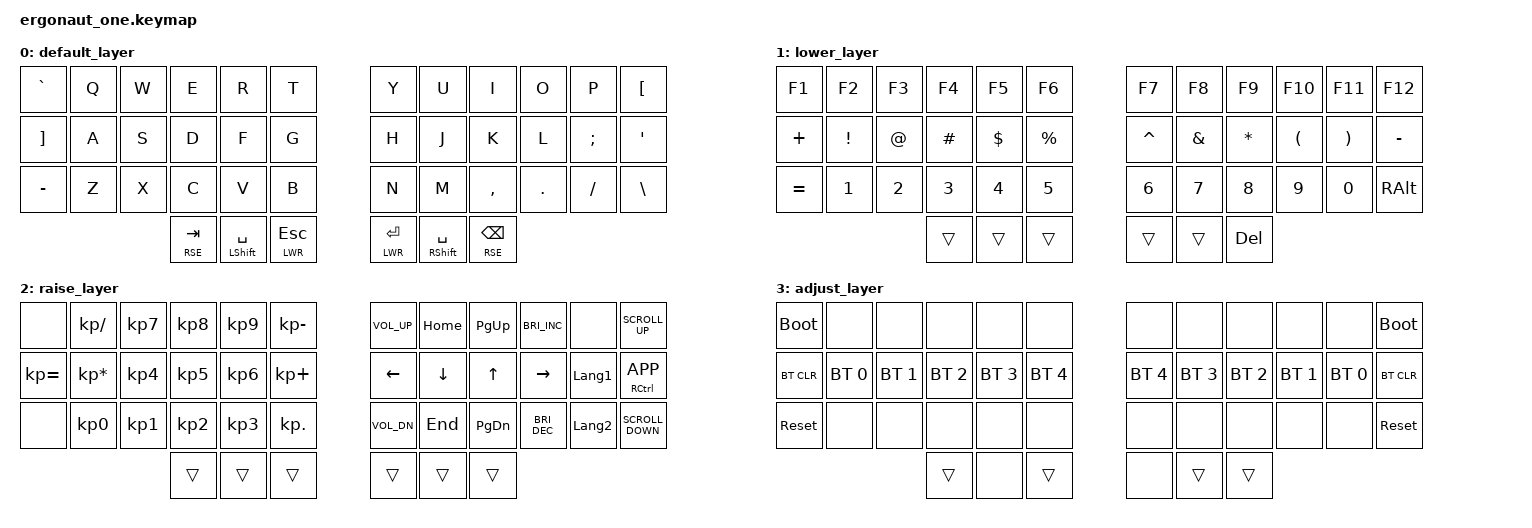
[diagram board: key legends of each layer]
#include <behaviors.dtsi>
#include <dt-bindings/zmk/bt.h>
#include <dt-bindings/zmk/keys.h>

#define DEF 0
#define LWR 1
#define RSE 2
#define ADJ 3

&lt { quick-tap-ms = <500>; };

&mt {
    quick-tap-ms = <200>;
    flavor = "hold-preferred";
    tapping-term-ms = <2000>;
};

/ {
    conditional_layers {
        compatible = "zmk,conditional-layers";

        tri-layer {
            if-layers = <1 2>;
            then-layer = <3>;
        };
    };

    behaviors {
        // Separate from &mt: do not inherit its 2000 ms term.
        space_shift: space_shift {
            compatible = "zmk,behavior-hold-tap";
            label = "SPACE_SHIFT";
            #binding-cells = <2>;
            bindings = <&kp>, <&kp>;
            flavor = "tap-preferred";
            tapping-term-ms = <200>;
            quick-tap-ms = <350>;
            retro-tap;
        };

        hrm: hrm {
            compatible = "zmk,behavior-hold-tap";
            label = "HRM";
            bindings = <&kp>, <&kp>;

            #binding-cells = <2>;
            tapping-term-ms = <300>;
            flavor = "balanced";
            require-prior-idle-ms = <125>;
            quick-tap-ms = <300>;
        };
    };

    combos {
        compatible = "zmk,combos";

        // Dedicated modifier chords on the base layer; letters have no hold-tap.
        // Keep each modifier pressed until BOTH chord keys have been released.
        shift_left {
            bindings = <&kp LEFT_SHIFT>;
            key-positions = <4 16>; // R + F
            timeout-ms = <50>;
            layers = <DEF>;
            slow-release;
        };
        shift_right {
            bindings = <&kp RIGHT_SHIFT>;
            key-positions = <7 19>; // U + J
            timeout-ms = <50>;
            layers = <DEF>;
            slow-release;
        };

        ctrl_left {
            bindings = <&kp LEFT_CONTROL>;
            key-positions = <1 13>; // Q + A
            timeout-ms = <50>;
            layers = <DEF>;
            slow-release;
        };

        ctrl_right {
            bindings = <&kp RIGHT_CONTROL>;
            key-positions = <10 22>; // P + ;
            timeout-ms = <50>;
            layers = <DEF>;
            slow-release;
        };

        alt_left {
            bindings = <&kp LEFT_ALT>;
            key-positions = <2 14>; // W + S
            timeout-ms = <50>;
            layers = <DEF>;
            slow-release;
        };

        alt_right {
            bindings = <&kp RIGHT_ALT>;
            key-positions = <9 21>; // O + L
            timeout-ms = <50>;
            layers = <DEF>;
            slow-release;
        };

        cmd_left {
            bindings = <&kp LEFT_GUI>;
            key-positions = <3 15>; // E + D
            timeout-ms = <50>;
            layers = <DEF>;
            slow-release;
        };

        cmd_right {
            bindings = <&kp RIGHT_GUI>;
            key-positions = <8 20>; // I + K
            timeout-ms = <50>;
            layers = <DEF>;
            slow-release;
        };

        // Original combos preserved unchanged.
        YU {
            bindings = <&kp LG(NUMBER_4)>;
            key-positions = <6 7>;
        };
        NM {
            bindings = <&none>;
            key-positions = <30 31>;
        };
        HJ {
            bindings = <&kp LC(SPACE)>;
            key-positions = <18 19>;
        };
        RT {
            bindings = <&kp LG(NUMBER_3)>;
            key-positions = <4 5>;
        };
    };

    keymap {
        compatible = "zmk,keymap";

        default_layer {
            bindings = <
&kp GRAVE          &kp Q                &kp W            &kp E            &kp R              &kp T           &kp Y          &kp U               &kp I                 &kp O             &kp P                 &kp LBKT
&kp RIGHT_BRACKET  &kp A  &kp S  &kp D  &kp F  &kp G           &kp H          &kp J  &kp K  &kp L  &kp SEMICOLON  &kp SINGLE_QUOTE
&kp MINUS          &kp Z                &kp X            &kp C            &kp V              &kp B           &kp N          &kp M               &kp COMMA             &kp DOT           &kp FSLH              &kp BACKSLASH
                                                         &lt RSE TAB      &space_shift LEFT_SHIFT SPACE  &lt LWR ESCAPE  &lt LWR ENTER  &space_shift RIGHT_SHIFT SPACE  &lt RSE BACKSPACE
            >;
        };

        lower_layer {
            bindings = <
&kp F1     &kp F2    &kp F3  &kp F4    &kp F5    &kp F6     &kp F7     &kp F8    &kp F9      &kp F10   &kp F11   &kp F12
&kp PLUS   &kp EXCL  &kp AT  &kp HASH  &kp DLLR  &kp PRCNT  &kp CARET  &kp AMPS  &kp STAR    &kp LPAR  &kp RPAR  &kp MINUS
&kp EQUAL  &kp N1    &kp N2  &kp N3    &kp N4    &kp N5     &kp N6     &kp N7    &kp N8      &kp N9    &kp N0    &kp RALT
                             &trans    &trans    &trans     &trans     &trans    &kp DELETE
            >;
        };

        raise_layer {
            bindings = <
&none         &kp KP_SLASH     &kp KP_N7  &kp KP_N8  &kp KP_N9  &kp KP_MINUS  &kp C_VOL_UP  &kp HOME  &kp PAGE_UP    &kp C_BRIGHTNESS_INC  &none           &kp K_SCROLL_UP
&kp KP_EQUAL  &kp KP_MULTIPLY  &kp KP_N4  &kp KP_N5  &kp KP_N6  &kp KP_PLUS   &kp LEFT      &kp DOWN  &kp UP         &kp RIGHT             &kp LANGUAGE_1  &mt RCTRL K_APP
&none         &kp KP_N0        &kp KP_N1  &kp KP_N2  &kp KP_N3  &kp KP_DOT    &kp C_VOL_DN  &kp END   &kp PAGE_DOWN  &kp C_BRIGHTNESS_DEC  &kp LANGUAGE_2  &kp K_SCROLL_DOWN
                                          &trans     &trans     &trans        &trans        &trans    &trans
            >;
        };

        adjust_layer {
            bindings = <
&bootloader  &none         &none         &none         &none         &none         &none         &none         &none         &none         &none         &bootloader
&bt BT_CLR   &bt BT_SEL 0  &bt BT_SEL 1  &bt BT_SEL 2  &bt BT_SEL 3  &bt BT_SEL 4  &bt BT_SEL 4  &bt BT_SEL 3  &bt BT_SEL 2  &bt BT_SEL 1  &bt BT_SEL 0  &bt BT_CLR
&sys_reset   &none         &none         &none         &none         &none         &none         &none         &none         &none         &none         &sys_reset
                                         &trans        &none         &trans        &none         &trans        &trans
            >;
        };
    };
};
